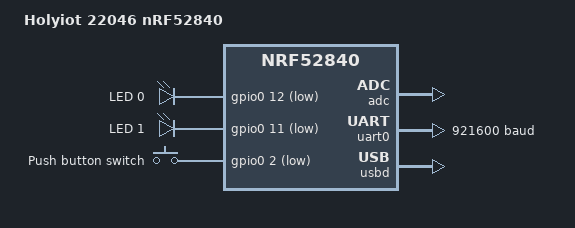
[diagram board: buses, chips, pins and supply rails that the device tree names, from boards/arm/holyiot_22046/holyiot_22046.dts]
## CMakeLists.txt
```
cmake_minimum_required(VERSION 3.20.0)

set(BOARD_ROOT ${CMAKE_CURRENT_LIST_DIR})

find_package(Zephyr REQUIRED HINTS $ENV{ZEPHYR_BASE})
project(ble_hid_peripheral)

target_sources(app PRIVATE
    src/main.cc
    src/descriptors.cc
)
```

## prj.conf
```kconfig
CONFIG_LOG=y
CONFIG_LOG_MAX_LEVEL=3
CONFIG_LOG_BUFFER_SIZE=4096

CONFIG_USE_DT_CODE_PARTITION=y
CONFIG_KERNEL_BIN_NAME="ble_hid_peripheral"
CONFIG_BUILD_OUTPUT_UF2=y

CONFIG_CPLUSPLUS=y
CONFIG_STD_CPP17=y
CONFIG_NEWLIB_LIBC=y
CONFIG_LIB_CPLUSPLUS=y

CONFIG_HEAP_MEM_POOL_SIZE=8192
CONFIG_SYSTEM_WORKQUEUE_STACK_SIZE=4096

CONFIG_FLASH=y
CONFIG_FLASH_PAGE_LAYOUT=y
CONFIG_FLASH_MAP=y
CONFIG_NVS=y
CONFIG_SETTINGS=y

CONFIG_GPIO=y

# BLE: peripheral only
CONFIG_BT=y
CONFIG_BT_DEBUG_LOG=y
CONFIG_BT_PERIPHERAL=y
CONFIG_BT_SMP=y
# Disable privacy so device stays connectable after peer forgets pairing
# With privacy + bonds, peripheral uses whitelist and only accepts bonded peers
CONFIG_BT_PRIVACY=n
CONFIG_BT_SETTINGS=y
CONFIG_BT_MAX_CONN=2
CONFIG_BT_MAX_PAIRED=4
CONFIG_BT_KEYS_OVERWRITE_OLDEST=y
CONFIG_BT_DEVICE_NAME="PlayAbility Receiver"
CONFIG_BT_GATT_SERVICE_CHANGED=y

# USB HID
CONFIG_USB_DEVICE_STACK=y
CONFIG_USB_DEVICE_HID=y
CONFIG_USB_HID_DEVICE_COUNT=1
CONFIG_USB_HID_POLL_INTERVAL_MS=1
CONFIG_USB_NRFX_EVT_QUEUE_SIZE=64
CONFIG_USB_DEVICE_VID=0xCAFE
# Unique PID so OS doesn't show cached "HID Remapper" name from 0xBAF2
CONFIG_USB_DEVICE_PID=0xBAF3
CONFIG_USB_DEVICE_MANUFACTURER="nRF52840"
CONFIG_USB_DEVICE_PRODUCT="PlayAbility Receiver"
CONFIG_USB_SELF_POWERED=n
CONFIG_USB_DEVICE_SOF=y
CONFIG_HID_INTERRUPT_EP_MPS=64
```

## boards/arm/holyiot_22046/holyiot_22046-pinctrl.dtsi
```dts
/*
 * Holyiot 22046 nRF52840 pin control
 * SPDX-License-Identifier: Apache-2.0
 *
 * NOTE: Verify pin assignments against your Holyiot 22046 module/breakout board.
 * These are typical nRF52840 breakout defaults; adjust as needed for your hardware.
 */

&pinctrl {
	uart0_default: uart0_default {
		group1 {
			psels = <NRF_PSEL(UART_TX, 0, 8)>,
				<NRF_PSEL(UART_RX, 0, 6)>;
		};
	};

	uart0_sleep: uart0_sleep {
		group1 {
			psels = <NRF_PSEL(UART_TX, 0, 8)>,
				<NRF_PSEL(UART_RX, 0, 6)>;
			low-power-enable;
		};
	};
};
```

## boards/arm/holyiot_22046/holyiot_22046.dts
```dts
/*
 * Holyiot 22046 nRF52840 devicetree
 * SPDX-License-Identifier: Apache-2.0
 *
 * Assumes nRF52840 QIAA (same as Holyiot-22043). Verify LED/button/uart pinout
 * against your Holyiot 22046 module or breakout board schematic.
 */

/dts-v1/;
#include <nordic/nrf52840_qiaa.dtsi>
#include "holyiot_22046-pinctrl.dtsi"

/ {
	model = "Holyiot 22046 nRF52840";
	compatible = "holyiot,22046";

	chosen {
		zephyr,console = &uart0;
		zephyr,shell-uart = &uart0;
		zephyr,uart-mcumgr = &uart0;
		zephyr,bt-mon-uart = &uart0;
		zephyr,bt-c2h-uart = &uart0;
		zephyr,sram = &sram0;
		zephyr,flash = &flash0;
		zephyr,code-partition = &code_partition;
	};

	leds {
		compatible = "gpio-leds";
		/* LED1 green (schematic 22046-52840 dongle) */
		led0: led_0 {
			gpios = <&gpio0 12 GPIO_ACTIVE_LOW>;
			label = "LED 0";
		};
		/* LED2 Red channel from RGB (schematic 22046-52840 dongle) */
		led1: led_1 {
			gpios = <&gpio0 11 GPIO_ACTIVE_LOW>;
			label = "LED 1";
		};
	};

	buttons {
		compatible = "gpio-keys";
		button0: button_0 {
			gpios = <&gpio0 2 (GPIO_PULL_UP | GPIO_ACTIVE_LOW)>;
			label = "Push button switch";
		};
	};

	aliases {
		led0 = &led0;
		led1 = &led1;
		sw0 = &button0;
	};
};

&adc {
	status = "okay";
};

&gpiote {
	status = "okay";
};

&gpio0 {
	status = "okay";
};

&gpio1 {
	status = "okay";
};

&uart0 {
	compatible = "nordic,nrf-uart";
	current-speed = <921600>;
	status = "okay";
	pinctrl-0 = <&uart0_default>;
	pinctrl-1 = <&uart0_sleep>;
	pinctrl-names = "default", "sleep";
};

&flash0 {
	partitions {
		compatible = "fixed-partitions";
		#address-cells = <1>;
		#size-cells = <1>;

		/* Standalone: app at 0x0 for direct SWD flash (nrfjprog --chiperase).
		   DFU via bootloader requires different layout - use SWD for now. */
		code_partition: partition@0 {
			label = "code_partition";
			reg = <0x00000000 0x000f8000>;
		};

		storage_partition: partition@f8000 {
			label = "storage";
			reg = <0x000f8000 0x00008000>;
		};
	};
};

zephyr_udc0: &usbd {
	compatible = "nordic,nrf-usbd";
	status = "okay";
};
```

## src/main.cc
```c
#include <errno.h>
#include <stddef.h>
#include <cstring>

#include <zephyr/bluetooth/bluetooth.h>
#include <zephyr/bluetooth/conn.h>
#include <zephyr/bluetooth/gatt.h>
#include <zephyr/bluetooth/hci.h>
#include <zephyr/bluetooth/uuid.h>
#include <zephyr/drivers/gpio.h>
#include <zephyr/kernel.h>
#include <zephyr/logging/log.h>
#include <zephyr/settings/settings.h>
#include <zephyr/sys/byteorder.h>
#include <zephyr/sys/reboot.h>
#include <zephyr/types.h>
#include <zephyr/usb/class/usb_hid.h>
#include <zephyr/usb/usb_device.h>

#include "descriptors.h"

LOG_MODULE_REGISTER(ble_hid, LOG_LEVEL_DBG);

#define CHK(X) ({ int err = X; if (err != 0) { LOG_ERR("%s returned %d (%s:%d)", #X, err, __FILE__, __LINE__); } err == 0; })

// ---------------------------------------------------------------------------
// BLE NUS UUIDs (Nordic UART Service for Web Bluetooth compatibility)
// ---------------------------------------------------------------------------
static struct bt_uuid_128 nus_service_uuid = BT_UUID_INIT_128(
    0x9e, 0xca, 0xdc, 0x24, 0x0e, 0xe5, 0xa9, 0xe0,
    0x93, 0xf3, 0xa3, 0xb5, 0x01, 0x00, 0x40, 0x6e);

static struct bt_uuid_128 nus_rx_uuid = BT_UUID_INIT_128(
    0x9e, 0xca, 0xdc, 0x24, 0x0e, 0xe5, 0xa9, 0xe0,
    0x93, 0xf3, 0xa3, 0xb5, 0x02, 0x00, 0x40, 0x6e);

static struct bt_uuid_128 nus_tx_uuid = BT_UUID_INIT_128(
    0x9e, 0xca, 0xdc, 0x24, 0x0e, 0xe5, 0xa9, 0xe0,
    0x93, 0xf3, 0xa3, 0xb5, 0x03, 0x00, 0x40, 0x6e);

// ---------------------------------------------------------------------------
// BLE command protocol (received on NUS RX characteristic)
//
// Byte 0: command
//   0x01 = switch descriptor (byte 1 = descriptor index 0..5)
//   0x02 = send HID report  (byte 1 = report_id, bytes 2..N = report data)
//   0x03 = query current descriptor (response sent on TX notify)
// ---------------------------------------------------------------------------
enum BleCmd : uint8_t {
    CMD_SWITCH_DESCRIPTOR = 0x01,
    CMD_SEND_REPORT       = 0x02,
    CMD_QUERY_DESCRIPTOR  = 0x03,
};

// ---------------------------------------------------------------------------
// State
// ---------------------------------------------------------------------------
static uint8_t current_descriptor_number = 0;
static const descriptor_def_t* current_descriptor = &descriptors[0];
static volatile bool descriptor_switch_pending = false;
static uint8_t pending_descriptor_number = 0;

static const struct device* hid_dev;
static K_SEM_DEFINE(usb_sem, 1, 1);
static bool usb_ready = false;

static struct bt_conn* ble_conn;

// ---------------------------------------------------------------------------
// Hardware: button and LEDs
// ---------------------------------------------------------------------------
#define SW0_NODE DT_ALIAS(sw0)
#if !DT_NODE_HAS_STATUS(SW0_NODE, okay)
#error "Unsupported board: sw0 devicetree alias is not defined"
#endif

#define LED0_NODE DT_ALIAS(led0)
#if !DT_NODE_HAS_STATUS(LED0_NODE, okay)
#error "Unsupported board: led0 devicetree alias is not defined"
#endif

#define LED1_NODE DT_ALIAS(led1)
#if !DT_NODE_HAS_STATUS(LED1_NODE, okay)
#error "Unsupported board: led1 devicetree alias is not defined"
#endif

static const struct gpio_dt_spec button = GPIO_DT_SPEC_GET(SW0_NODE, gpios);
static struct gpio_callback button_cb_data;
static const struct gpio_dt_spec led0 = GPIO_DT_SPEC_GET(LED0_NODE, gpios);
static const struct gpio_dt_spec led1 = GPIO_DT_SPEC_GET(LED1_NODE, gpios);

static const int CLEAR_BONDS_HOLD_MS = 3000;

// ---------------------------------------------------------------------------
// LED helpers
// ---------------------------------------------------------------------------
enum class LedMode : uint8_t { OFF = 0, ON = 1, BLINK = 2 };

static atomic_t led_mode_val = ATOMIC_INIT((atomic_val_t)LedMode::OFF);
static atomic_t led_blink_count = ATOMIC_INIT(0);
static int led_blinks_left = 0;
static bool next_blink_state = true;

static void led_work_fn(struct k_work* work);
static K_WORK_DELAYABLE_DEFINE(led_work, led_work_fn);

static void led_work_fn(struct k_work* work) {
    LedMode mode = (LedMode)atomic_get(&led_mode_val);
    switch (mode) {
        case LedMode::OFF:
            gpio_pin_set_dt(&led1, false);
            break;
        case LedMode::ON:
            gpio_pin_set_dt(&led1, true);
            break;
        case LedMode::BLINK: {
            int next_ms = 0;
            if (next_blink_state) {
                if (led_blinks_left > 0) {
                    led_blinks_left--;
                    gpio_pin_set_dt(&led1, true);
                    next_blink_state = false;
                    next_ms = 100;
                } else {
                    led_blinks_left = atomic_get(&led_blink_count);
                    gpio_pin_set_dt(&led1, false);
                    next_ms = 1000;
                }
            } else {
                gpio_pin_set_dt(&led1, false);
                next_blink_state = true;
                next_ms = 100;
            }
            k_work_reschedule(&led_work, K_MSEC(next_ms));
            break;
        }
    }
}

static void set_led_mode(LedMode m) {
    if (atomic_set(&led_mode_val, (atomic_val_t)m) != (atomic_val_t)m) {
        k_work_reschedule(&led_work, K_NO_WAIT);
    }
}

static void activity_led_off_fn(struct k_work* work) { gpio_pin_set_dt(&led0, false); }
static K_WORK_DELAYABLE_DEFINE(activity_led_off_work, activity_led_off_fn);

static void activity_flash() {
    gpio_pin_set_dt(&led0, true);
    k_work_reschedule(&activity_led_off_work, K_MSEC(50));
}

// ---------------------------------------------------------------------------
// USB HID
// ---------------------------------------------------------------------------
extern struct usb_device_descriptor __usb_descriptor_start[];

static void int_in_ready_cb(const struct device* dev) {
    k_sem_give(&usb_sem);
}

static int get_report_cb(const struct device* dev, struct usb_setup_packet* setup,
                         int32_t* len, uint8_t** data) {
    LOG_DBG("get_report");
    *len = 0;
    return 0;
}

static int set_report_cb(const struct device* dev, struct usb_setup_packet* setup,
                         int32_t* len, uint8_t** data) {
    LOG_DBG("set_report len=%d", *len);
    return 0;
}

static const struct hid_ops hid_ops = {
    .get_report = get_report_cb,
    .set_report = set_report_cb,
    .int_in_ready = int_in_ready_cb,
};

static void status_cb(enum usb_dc_status_code status, const uint8_t* param) {
    (void)param;
    (void)status;
}

static bool send_hid_report(const uint8_t* report, uint8_t len) {
    if (!usb_ready || !hid_dev) return false;
    if (k_sem_take(&usb_sem, K_NO_WAIT) != 0) return false;
    if (!CHK(hid_int_ep_write(hid_dev, report, len, NULL))) {
        k_sem_give(&usb_sem);
        return false;
    }
    return true;
}

static void usb_init_with_descriptor() {
    hid_dev = device_get_binding("HID_0");
    if (!hid_dev) {
        LOG_ERR("Cannot get USB HID device");
        return;
    }

    usb_hid_register_device(hid_dev,
                            current_descriptor->descriptor,
                            current_descriptor->descriptor_length,
                            &hid_ops);
    CHK(usb_hid_init(hid_dev));
    CHK(usb_enable(status_cb));
    usb_ready = true;

    LOG_INF("USB HID active with descriptor %d (VID=0x%04X PID=0x%04X)",
            current_descriptor->idx,
            current_descriptor->vid,
            current_descriptor->pid);
}

static void apply_vid_pid() {
    if (current_descriptor->vid && current_descriptor->pid) {
        struct usb_device_descriptor* dd = __usb_descriptor_start;
        dd->idVendor  = current_descriptor->vid;
        dd->idProduct = current_descriptor->pid;
    }
}

// Soft-reconnect: cycle USB to present a different descriptor to the host.
// Falls back to reboot if the USB stack doesn't cooperate.
static void switch_usb_descriptor(uint8_t new_idx) {
    if (new_idx >= NOUR_DESCRIPTORS || new_idx == current_descriptor_number) return;

    LOG_INF("Switching descriptor %d -> %d", current_descriptor_number, new_idx);

    current_descriptor_number = new_idx;
    current_descriptor = &descriptors[new_idx];

    // Persist choice so it survives power-cycles
    settings_save_one("hid/desc", &current_descriptor_number, sizeof(current_descriptor_number));

    // Try soft-reconnect
    usb_ready = false;
    int err = usb_disable();
    if (err && err != -EALREADY) {
        LOG_WRN("usb_disable returned %d, rebooting", err);
        sys_reboot(SYS_REBOOT_WARM);
        return;
    }

    k_sleep(K_MSEC(100));

    apply_vid_pid();
    usb_hid_register_device(hid_dev,
                            current_descriptor->descriptor,
                            current_descriptor->descriptor_length,
                            &hid_ops);

    err = usb_hid_init(hid_dev);
    if (err && err != -EALREADY) {
        LOG_WRN("usb_hid_init returned %d after re-register, rebooting", err);
        sys_reboot(SYS_REBOOT_WARM);
        return;
    }

    err = usb_enable(status_cb);
    if (err && err != -EALREADY) {
        LOG_WRN("usb_enable returned %d, rebooting", err);
        sys_reboot(SYS_REBOOT_WARM);
        return;
    }

    k_sem_give(&usb_sem);
    usb_ready = true;

    LOG_INF("USB re-enabled with descriptor %d", new_idx);
}

// ---------------------------------------------------------------------------
// BLE NUS service
// ---------------------------------------------------------------------------
static void handle_ble_command(const uint8_t* buf, uint16_t len);

static ssize_t nus_rx_write_cb(struct bt_conn* conn, const struct bt_gatt_attr* attr,
                                const void* buf, uint16_t len, uint16_t offset, uint8_t flags) {
    handle_ble_command((const uint8_t*)buf, len);
    return len;
}

static void nus_ccc_changed(const struct bt_gatt_attr* attr, uint16_t value) {
    LOG_DBG("NUS CCC changed: %d", value);
}

BT_GATT_SERVICE_DEFINE(nus_service,
    BT_GATT_PRIMARY_SERVICE(&nus_service_uuid),
    BT_GATT_CHARACTERISTIC(&nus_rx_uuid.uuid,
                           BT_GATT_CHRC_WRITE | BT_GATT_CHRC_WRITE_WITHOUT_RESP,
                           BT_GATT_PERM_WRITE, NULL, nus_rx_write_cb, NULL),
    BT_GATT_CHARACTERISTIC(&nus_tx_uuid.uuid,
                           BT_GATT_CHRC_NOTIFY,
                           BT_GATT_PERM_NONE, NULL, NULL, NULL),
    BT_GATT_CCC(nus_ccc_changed, BT_GATT_PERM_READ | BT_GATT_PERM_WRITE),
);

static void handle_ble_command(const uint8_t* buf, uint16_t len) {
    if (len < 1) return;
    activity_flash();

    switch (buf[0]) {
        case CMD_SWITCH_DESCRIPTOR:
            if (len >= 2 && buf[1] < NOUR_DESCRIPTORS) {
                pending_descriptor_number = buf[1];
                descriptor_switch_pending = true;
                LOG_INF("BLE: descriptor switch requested -> %d", buf[1]);
            }
            break;

        case CMD_SEND_REPORT:
            if (len >= 2) {
                send_hid_report(buf + 1, len - 1);
            }
            break;

        case CMD_QUERY_DESCRIPTOR: {
            if (!ble_conn) break;
            uint8_t resp = current_descriptor_number;
            const struct bt_gatt_attr* tx_attr = &nus_service.attrs[4];
            bt_gatt_notify(ble_conn, tx_attr, &resp, 1);
            break;
        }

        default:
            LOG_WRN("Unknown BLE command 0x%02X", buf[0]);
            break;
    }
}

// ---------------------------------------------------------------------------
// BLE advertising
// ---------------------------------------------------------------------------
static void start_advertising() {
    struct bt_le_adv_param adv_param = {
        .id = BT_ID_DEFAULT,
        .sid = 0,
        .secondary_max_skip = 0,
        .options = BT_LE_ADV_OPT_CONNECTABLE,
        .interval_min = BT_GAP_ADV_FAST_INT_MIN_2,
        .interval_max = BT_GAP_ADV_FAST_INT_MAX_2,
        .peer = NULL,
    };

    // Main ad: flags + UUID only (20 bytes) - must stay under 31 bytes for connectable display
    static const struct bt_data ad[] = {
        BT_DATA_BYTES(BT_DATA_FLAGS, (BT_LE_AD_GENERAL | BT_LE_AD_NO_BREDR)),
        BT_DATA_BYTES(BT_DATA_UUID128_ALL,
            0x9e, 0xca, 0xdc, 0x24, 0x0e, 0xe5, 0xa9, 0xe0,
            0x93, 0xf3, 0xa3, 0xb5, 0x01, 0x00, 0x40, 0x6e),
    };

    // Name in scan response to avoid overflowing main ad (31 byte limit)
    static const struct bt_data sd[] = {
        BT_DATA(BT_DATA_NAME_COMPLETE, "PlayAbility Receiver", sizeof("PlayAbility Receiver") - 1),
    };

    CHK(bt_le_adv_start(&adv_param, ad, ARRAY_SIZE(ad), sd, ARRAY_SIZE(sd)));
    LOG_INF("Advertising started");
}

// ---------------------------------------------------------------------------
// BLE connection callbacks
// ---------------------------------------------------------------------------
static void ble_connected(struct bt_conn* conn, uint8_t err) {
    if (err) {
        LOG_ERR("BLE connect failed (err %u)", err);
        return;
    }
    ble_conn = bt_conn_ref(conn);
    set_led_mode(LedMode::ON);
    LOG_INF("BLE connected");
}

static void ble_disconnected(struct bt_conn* conn, uint8_t reason) {
    LOG_INF("BLE disconnected (reason %u)", reason);
    if (ble_conn) {
        bt_conn_unref(ble_conn);
        ble_conn = NULL;
    }
    set_led_mode(LedMode::BLINK);
    start_advertising();
}

BT_CONN_CB_DEFINE(conn_cbs) = {
    .connected = ble_connected,
    .disconnected = ble_disconnected,
};

static void auth_cancel(struct bt_conn* conn) { LOG_WRN("auth cancel"); }
static struct bt_conn_auth_cb auth_cbs = { .cancel = auth_cancel };

// ---------------------------------------------------------------------------
// Button: short press cycles descriptor, long press clears bonds
// ---------------------------------------------------------------------------
static int64_t button_pressed_at;

static void button_cb(const struct device* dev, struct gpio_callback* cb, uint32_t pins) {
    int state = gpio_pin_get(dev, button.pin);
    if (state) {
        button_pressed_at = k_uptime_get();
    } else {
        if (k_uptime_get() - button_pressed_at > CLEAR_BONDS_HOLD_MS) {
            static auto addr_any = BT_ADDR_LE_ANY[0];
            CHK(bt_unpair(BT_ID_DEFAULT, &addr_any));
            LOG_INF("Bonds cleared");
        } else {
            uint8_t next = (current_descriptor_number + 1) % NOUR_DESCRIPTORS;
            pending_descriptor_number = next;
            descriptor_switch_pending = true;
            LOG_INF("Button: switching to descriptor %d", next);
        }
    }
}

// ---------------------------------------------------------------------------
// Settings: persist current descriptor choice
// ---------------------------------------------------------------------------
static int settings_set_cb(const char* name, size_t len, settings_read_cb read_cb, void* cb_arg) {
    if (len != 1) return -EINVAL;
    uint8_t val;
    if (read_cb(cb_arg, &val, 1) != 1) return -EIO;
    if (val < NOUR_DESCRIPTORS) {
        current_descriptor_number = val;
        current_descriptor = &descriptors[val];
        LOG_INF("Loaded descriptor %d from settings", val);
    }
    return 0;
}

static struct settings_handler settings_handlers = {
    .name = "hid",
    .h_set = settings_set_cb,
};

// ---------------------------------------------------------------------------
// Init helpers
// ---------------------------------------------------------------------------
static void button_init() {
    if (!device_is_ready(button.port)) { LOG_ERR("button not ready"); return; }
    CHK(gpio_pin_configure_dt(&button, GPIO_INPUT | GPIO_PULL_UP | GPIO_ACTIVE_LOW));
    CHK(gpio_pin_interrupt_configure_dt(&button, GPIO_INT_EDGE_BOTH));
    gpio_init_callback(&button_cb_data, button_cb, BIT(button.pin));
    gpio_add_callback(button.port, &button_cb_data);
}

static void leds_init() {
    if (device_is_ready(led0.port)) { CHK(gpio_pin_configure_dt(&led0, GPIO_OUTPUT)); gpio_pin_set_dt(&led0, false); }
    if (device_is_ready(led1.port)) { CHK(gpio_pin_configure_dt(&led1, GPIO_OUTPUT)); gpio_pin_set_dt(&led1, false); }
}

// ---------------------------------------------------------------------------
// Main
// ---------------------------------------------------------------------------
int main() {
    LOG_INF("PlayAbility Receiver starting");

    // Early LED blink: if you see this, the app at least reached main()
    leds_init();
    gpio_pin_set_dt(&led0, true);
    k_sleep(K_MSEC(200));
    gpio_pin_set_dt(&led0, false);
    gpio_pin_set_dt(&led1, true);
    k_sleep(K_MSEC(200));
    gpio_pin_set_dt(&led1, false);
    k_sleep(K_MSEC(200));

    button_init();

    CHK(bt_conn_auth_cb_register(&auth_cbs));
    CHK(bt_enable(NULL));

    CHK(settings_subsys_init());
    CHK(settings_register(&settings_handlers));
    settings_load();

    apply_vid_pid();
    usb_init_with_descriptor();

    start_advertising();
    set_led_mode(LedMode::BLINK);
    atomic_set(&led_blink_count, current_descriptor_number + 1);

    LOG_INF("Ready. Active descriptor: %d", current_descriptor_number);

    while (true) {
        if (descriptor_switch_pending) {
            descriptor_switch_pending = false;
            switch_usb_descriptor(pending_descriptor_number);
            atomic_set(&led_blink_count, current_descriptor_number + 1);
        }

        k_sleep(K_MSEC(1));
    }

    return 0;
}
```

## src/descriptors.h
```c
#ifndef _DESCRIPTORS_H_
#define _DESCRIPTORS_H_

#include <stdint.h>

#define NOUR_DESCRIPTORS 6

struct descriptor_def_t {
    uint8_t idx;
    const uint8_t* descriptor;
    uint32_t descriptor_length;
    uint16_t vid;
    uint16_t pid;
};

extern const descriptor_def_t descriptors[NOUR_DESCRIPTORS];

#endif
```
